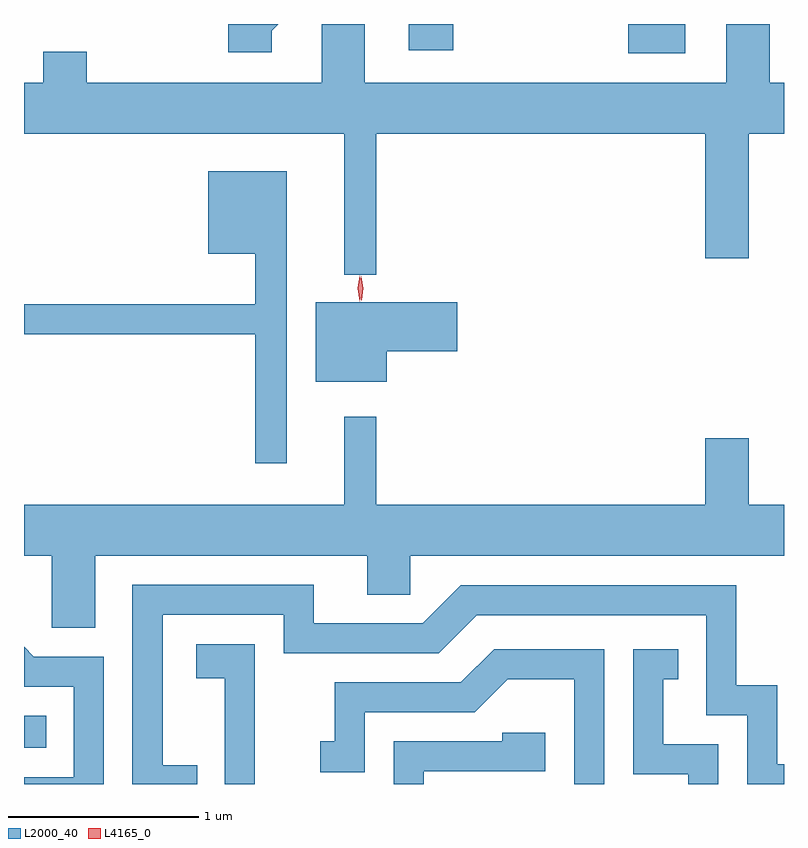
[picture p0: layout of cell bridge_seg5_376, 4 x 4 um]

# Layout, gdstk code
import gdstk
lib = gdstk.Library(unit=1e-6, precision=1e-09)
def R(c, l, rs):  # rectangles x0, y0, x1, y1
    for r in rs: c.add(gdstk.rectangle(r[:2], r[2:], *l))
def P(c, l, *ps):  # polygons
    for p in ps: c.add(gdstk.Polygon(p, *l))
L2000_40 = (2000, 40)
L4165_0 = (4165, 0)

bridge_seg5_376 = lib.new_cell('bridge_seg5_376')
R(bridge_seg5_376, L2000_40, [(458.525,1480.206,458.643,1480.374), (461.706,1483.861,462.004,1484.014), (460.551,1483.876,460.784,1484.014)])
P(bridge_seg5_376, L2000_40, [(460.379,1483.436),(462.111,1483.436),(462.111,1482.781),(462.339,1482.781),(462.339,1483.436),(462.525,1483.436),(462.525,1483.704),(462.449,1483.704),(462.449,1484.014),(462.221,1484.014),(462.221,1483.704),(460.319,1483.704),(460.319,1484.014),(460.091,1484.014),(460.091,1483.704),(458.854,1483.704),(458.854,1483.869),(458.626,1483.869),(458.626,1483.704),(458.525,1483.704),(458.525,1483.436),(460.211,1483.436),(460.211,1482.693),(460.379,1482.693)],
  [(459.829,1483.979),(459.864,1484.014),(459.601,1484.014),(459.601,1483.866),(459.829,1483.866)],
  [(459.909,1483.239),(459.496,1483.239),(459.496,1482.806),(459.741,1482.806),(459.741,1482.539),(458.525,1482.539),(458.525,1482.381),(459.741,1482.381),(459.741,1481.703),(459.909,1481.703)],
  [(460.434,1482.291),(460.804,1482.291),(460.804,1482.549),(460.061,1482.549),(460.061,1482.131),(460.434,1482.131)],
  [(458.899,1481.216),(460.331,1481.216),(460.331,1481.011),(460.559,1481.011),(460.559,1481.216),(462.525,1481.216),(462.525,1481.484),(462.339,1481.484),(462.339,1481.834),(462.111,1481.834),(462.111,1481.484),(460.379,1481.484),(460.379,1481.948),(460.211,1481.948),(460.211,1481.484),(458.525,1481.484),(458.525,1481.216),(458.671,1481.216),(458.671,1480.836),(458.899,1480.836)],
  [(459.438,1480.114),(459.254,1480.114),(459.254,1480.906),(459.891,1480.906),(459.891,1480.701),(460.707,1480.701),(460.907,1480.901),(462.116,1480.901),(462.116,1480.376),(462.331,1480.376),(462.331,1480.014),(462.525,1480.014),(462.525,1480.119),(462.489,1480.119),(462.489,1480.534),(462.274,1480.534),(462.274,1481.059),(460.824,1481.059),(460.624,1480.859),(460.049,1480.859),(460.049,1481.064),(459.096,1481.064),(459.096,1480.014),(459.438,1480.014)],
  [(459.739,1480.749),(459.431,1480.749),(459.431,1480.571),(459.581,1480.571),(459.581,1480.014),(459.739,1480.014)],
  [(458.944,1480.684),(458.577,1480.684),(458.525,1480.736),(458.525,1480.526),(458.786,1480.526),(458.786,1480.049),(458.525,1480.049),(458.525,1480.014),(458.944,1480.014)],
  [(462.179,1480.224),(461.889,1480.224),(461.889,1480.566),(461.968,1480.566),(461.968,1480.724),(461.731,1480.724),(461.731,1480.066),(462.021,1480.066),(462.021,1480.014),(462.179,1480.014)],
  [(461.579,1480.724),(460.999,1480.724),(460.824,1480.549),(460.161,1480.549),(460.161,1480.239),(460.083,1480.239),(460.083,1480.076),(460.319,1480.076),(460.319,1480.391),(460.897,1480.391),(461.072,1480.566),(461.421,1480.566),(461.421,1480.014),(461.579,1480.014)],
  [(460.629,1480.081),(461.269,1480.081),(461.269,1480.284),(461.041,1480.284),(461.041,1480.239),(460.471,1480.239),(460.471,1480.014),(460.629,1480.014)])
P(bridge_seg5_376, L4165_0, [(460.291,1482.554),(460.291,1482.554),(460.282,1482.622),(460.292,1482.69),(460.293,1482.69),(460.293,1482.69),(460.302,1482.622),(460.292,1482.554)],
  [(460.301,1482.56),(460.301,1482.56),(460.291,1482.623),(460.3,1482.686),(460.301,1482.687),(460.301,1482.686),(460.311,1482.623),(460.302,1482.56)])

lib.write_gds('bridge_seg5_376.gds')
